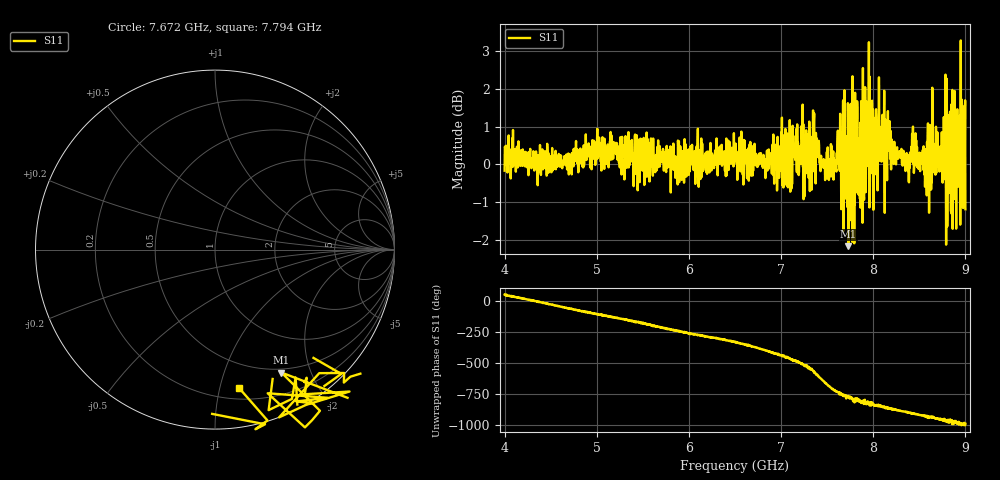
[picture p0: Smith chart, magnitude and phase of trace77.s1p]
! Created with skrf 1.8.0 (http://scikit-rf.org).
# Hz S RI R 50.0
!freq ReS11 ImS11
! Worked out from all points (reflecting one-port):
!   1601 points, 4 GHz to 9 GHz, reference 50 ohm
!   lowest |S11| = -2.2 dB at 7.731 GHz (marker M1), VSWR 8.03, Z = 22.7 - j79.1 ohm
!   phase of S11 starts at 52 deg and turns -1046 deg over the sweep
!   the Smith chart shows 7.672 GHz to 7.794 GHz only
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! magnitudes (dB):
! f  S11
! 4 GHz  -0.2
! 4.625 GHz  -0.1
! 5.25 GHz  -0.1
! 5.875 GHz  0.1
! 6.5 GHz  0.2
! 7.125 GHz  1.0
! 7.306 GHz  1.1
! 7.359 GHz  1.4
! 7.478 GHz  -0.4
! 7.65 GHz  0.2
! 7.731 GHz  -2.2
! 7.75 GHz  -0.4
! 7.784 GHz  0.1
! 7.8 GHz  -1.1
! 7.822 GHz  0.6
! 7.875 GHz  0.3
! 7.928 GHz  1.2
! 7.981 GHz  -0.1
! 8.097 GHz  0.1
! 8.375 GHz  0.0
! 8.441 GHz  -0.2
! 8.581 GHz  -0.8
! 8.666 GHz  0.5
! 8.766 GHz  1.3
! 8.822 GHz  0.9
! 8.875 GHz  1.0
! 8.972 GHz  0.7
! 9 GHz  -1.2
